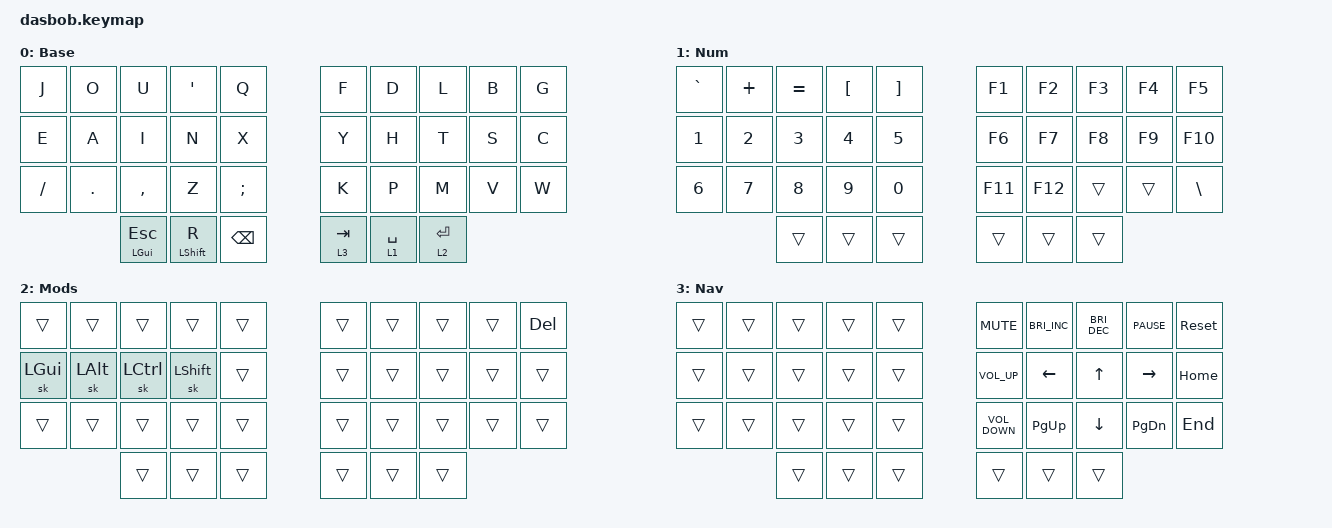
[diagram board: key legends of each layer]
#include <behaviors.dtsi>
#include <dt-bindings/zmk/keys.h>

/ {
    keymap {
        compatible = "zmk,keymap";

        // This is a sample keymap intended to be replaced with your own

        Base {
            bindings = <
&kp J      &kp O       &kp U                &kp SQT           &kp Q          &kp F      &kp D        &kp L        &kp B  &kp G
&kp E      &kp A       &kp I                &kp N             &kp X          &kp Y      &kp H        &kp T        &kp S  &kp C
&kp SLASH  &kp PERIOD  &kp COMMA            &kp Z             &kp SEMICOLON  &kp K      &kp P        &kp M        &kp V  &kp W
                       &mt LEFT_GUI ESCAPE  &mt LEFT_SHIFT R  &kp BACKSPACE  &lt 3 TAB  &lt 1 SPACE  &lt 2 ENTER
            >;
        };

        Num {
            bindings = <
&kp GRAVE     &kp PLUS      &kp EQUAL  &kp LEFT_BRACKET  &kp RBKT  &kp F1   &kp F2   &kp F3  &kp F4  &kp F5
&kp NUMBER_1  &kp N2        &kp N3     &kp N4            &kp N5    &kp F6   &kp F7   &kp F8  &kp F9  &kp F10
&kp NUMBER_6  &kp NUMBER_7  &kp N8     &kp N9            &kp N0    &kp F11  &kp F12  &trans  &trans  &kp BACKSLASH
                            &trans     &trans            &trans    &trans   &trans   &trans
            >;
        };

        Mods {
            bindings = <
&trans        &trans        &trans            &trans          &trans  &trans  &trans  &trans  &trans  &kp DELETE
&sk LEFT_GUI  &sk LEFT_ALT  &sk LEFT_CONTROL  &sk LEFT_SHIFT  &trans  &trans  &trans  &trans  &trans  &trans
&trans        &trans        &trans            &trans          &trans  &trans  &trans  &trans  &trans  &trans
                            &trans            &trans          &trans  &trans  &trans  &trans
            >;
        };

        Nav {
            bindings = <
&trans  &trans  &trans  &trans  &trans  &kp K_MUTE         &kp C_BRIGHTNESS_INC  &kp C_BRIGHTNESS_DEC  &kp C_PAUSE    &sys_reset
&trans  &trans  &trans  &trans  &trans  &kp C_VOLUME_UP    &kp LEFT              &kp UP_ARROW          &kp RIGHT      &kp HOME
&trans  &trans  &trans  &trans  &trans  &kp C_VOLUME_DOWN  &kp PAGE_UP           &kp DOWN              &kp PAGE_DOWN  &kp END
                &trans  &trans  &trans  &trans             &trans                &trans
            >;
        };
    };
};
